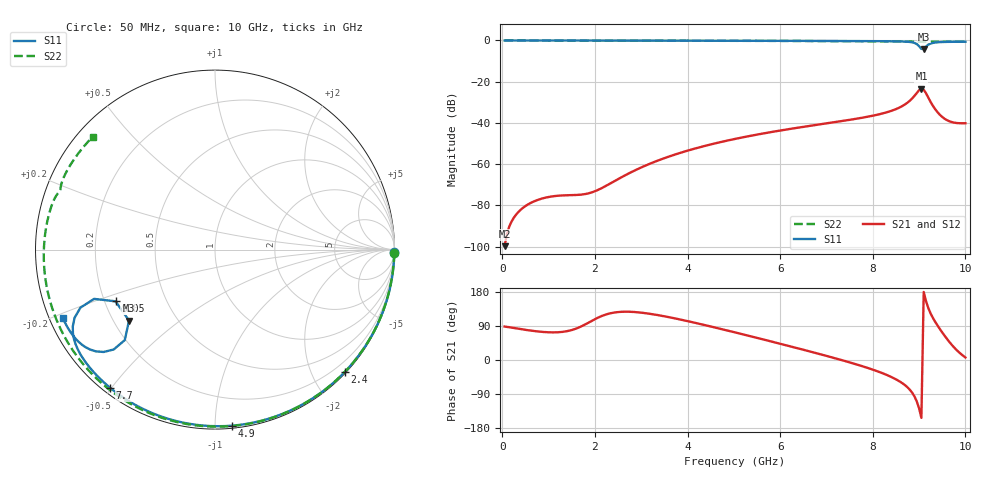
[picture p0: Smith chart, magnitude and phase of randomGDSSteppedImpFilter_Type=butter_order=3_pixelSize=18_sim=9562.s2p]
! freq	dB(S11)	phase(S11)	dB(S12)	phase(S12)
!  dB(S21)	phase(S21)	dB(S22)	phase(S22)
!S-par simulation data
#  GHz  S  DB  R 50
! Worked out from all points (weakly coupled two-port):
!   200 points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, 50 MHz to 10 GHz, reference 50 ohm
!   highest |S21| = -23.35 dB at 9.05 GHz (marker M1); lowest = -99.8 dB at 50 MHz (marker M2)
!   lowest |S11| = -4.1 dB at 9.1 GHz (marker M3), VSWR 4.28, Z = 13.1 - j16.9 ohm
!   |S11| at or under -10 dB: nowhere
!   |S22| runs from -0.7 to 0.0 dB; largest |S21 - S12| = 0
!   S11 on the Smith chart (normalised r, x): 50 MHz: open; 2.4 GHz: 0.02, -2.53; 4.9 GHz: 0.02, -1.10; 7.7 GHz: 0.02, -0.50; 9.05 GHz: 0.24, -0.23; 10 GHz: 0.04, -0.21
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0.05  -0.00 -0.9  -99.81 88.2  -99.81 88.2  -0.01 -1.2
0.5  -0.01 -9.2  -80.34 79.6  -80.34 79.6  -0.02 -12.8
1  -0.02 -18.3  -75.95 73.1  -75.95 73.1  -0.03 -25.6
1.75  -0.04 -31.7  -74.67 91.3  -74.67 91.3  -0.06 -44.2
2  -0.05 -36.1  -73.16 107.7  -73.16 107.7  -0.06 -50.3
2.4  -0.06 -43.1  -68.54 124.9  -68.54 124.9  -0.08 -59.8
3.4  -0.08 -60.2  -57.93 117.6  -57.93 117.6  -0.11 -82.8
4.9  -0.13 -84.5  -48.38 76.6  -48.38 76.6  -0.17 -114.9
5.05  -0.13 -86.8  -47.66 72.1  -47.66 72.1  -0.18 -117.9
6.7  -0.22 -112.0  -41.24 20.7  -41.24 20.7  -0.28 -151.2
7.7  -0.30 -127.2  -37.78 -13.6  -37.78 -13.6  -0.37 -171.5
8.35  -0.38 -138.1  -34.53 -42.0  -34.53 -42.0  -0.44 174.8
8.65  -0.51 -144.7  -31.67 -62.2  -31.67 -62.2  -0.48 168.3
8.9  -1.21 -154.1  -26.89 -96.0  -26.89 -96.0  -0.55 162.5
9  -2.77 -157.8  -24.12 -127.8  -24.12 -127.8  -0.63 160.3
9.05  -4.09 -152.5  -23.35 -152.7  -23.35 -152.7  -0.68 159.4
9.1  -4.14 -140.4  -23.90 179.5  -23.90 179.5  -0.68 158.7
9.2  -2.02 -135.4  -27.78 136.8  -27.78 136.8  -0.62 156.7
9.35  -1.00 -141.4  -33.43 100.3  -33.43 100.3  -0.59 153.1
9.5  -0.75 -145.9  -37.12 72.7  -37.12 72.7  -0.60 149.5
9.7  -0.66 -150.4  -39.56 40.9  -39.56 40.9  -0.62 144.6
10  -0.63 -156.0  -40.16 6.7  -40.16 6.7  -0.66 137.2
